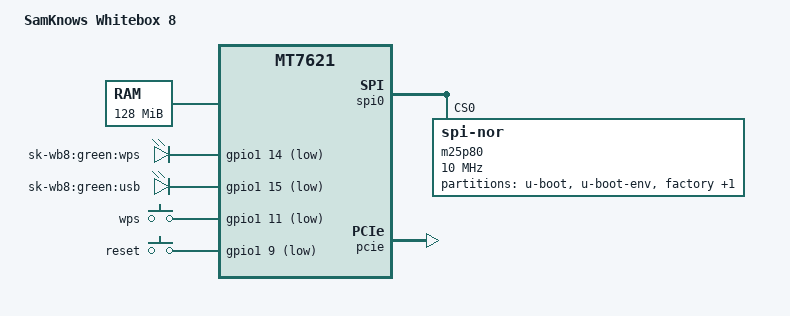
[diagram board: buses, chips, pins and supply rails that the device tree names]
/dts-v1/;

#include "mt7621.dtsi"
#include <dt-bindings/input/input.h>
#include <dt-bindings/gpio/gpio.h>

/ {
	compatible = "samknows,whitebox-v8", "mediatek,mt7621-soc";
	model = "SamKnows Whitebox 8";

	aliases {
		led-boot = &led_wps;
		led-failsafe = &led_wps;
		led-running = &led_wps;
		led-upgrade = &led_wps;
	};

	memory@0 {
		device_type = "memory";
		reg = <0x0 0x8000000>;
	};

	chosen {
		bootargs = "console=ttyS0,57600";
	};

	gpio-leds {
		compatible = "gpio-leds";

		led_wps: wps {
			label = "sk-wb8:green:wps";
			gpios = <&gpio1 14 GPIO_ACTIVE_LOW>;
		};

		usb {
			label = "sk-wb8:green:usb";
			gpios = <&gpio1 15 GPIO_ACTIVE_LOW>;
			trigger-sources = <&xhci_ehci_port1>, <&ehci_port2>;
			linux,default-trigger = "usbport";
		};
	};

	gpio-keys-polled {
		compatible = "gpio-keys-polled";
		poll-interval = <20>;
		wps {
			label = "wps";
			gpios = <&gpio1 11 GPIO_ACTIVE_LOW>;
			linux,code = <KEY_WPS_BUTTON>;
		};
		reset {
			label = "reset";
			gpios = <&gpio1 9 GPIO_ACTIVE_LOW>;
			linux,code = <KEY_RESTART>;
		};
	};
};

&spi0 {
	status = "okay";

	m25p80@0 {
		compatible = "jedec,spi-nor";
		reg = <0>;
		spi-max-frequency = <10000000>;
		m25p,chunked-io = <32>;

		partitions {
			compatible = "fixed-partitions";
			#address-cells = <1>;
			#size-cells = <1>;

			partition@0 {
				label = "u-boot";
				reg = <0x0 0x30000>;
				read-only;
			};

			partition@30000 {
				label = "u-boot-env";
				reg = <0x30000 0x10000>;
			};

			factory: partition@40000 {
				label = "factory";
				reg = <0x40000 0x10000>;
				read-only;
			};

			partition@50000 {
				label = "firmware";
				reg = <0x50000 0xfb0000>;
			};
		};
	};
};

&pcie {
	status = "okay";
};

&pcie0 {
	mt76@0,0 {
		reg = <0x0000 0 0 0 0>;
		mediatek,mtd-eeprom = <&factory 0x8000>;
		ieee80211-freq-limit = <5000000 6000000>;
	};
};

&pcie1 {
	mt76@0,0 {
		reg = <0x0000 0 0 0 0>;
		mediatek,mtd-eeprom = <&factory 0x0000>;
	};
};

&ethernet {
	mtd-mac-address = <&factory 0xe000>;
};

&pinctrl {
	state_default: pinctrl0 {
		gpio {
			ralink,group = "i2c", "uart2", "uart3", "rgmii2", "sdhci";
			ralink,function = "gpio";
		};
	};
};
